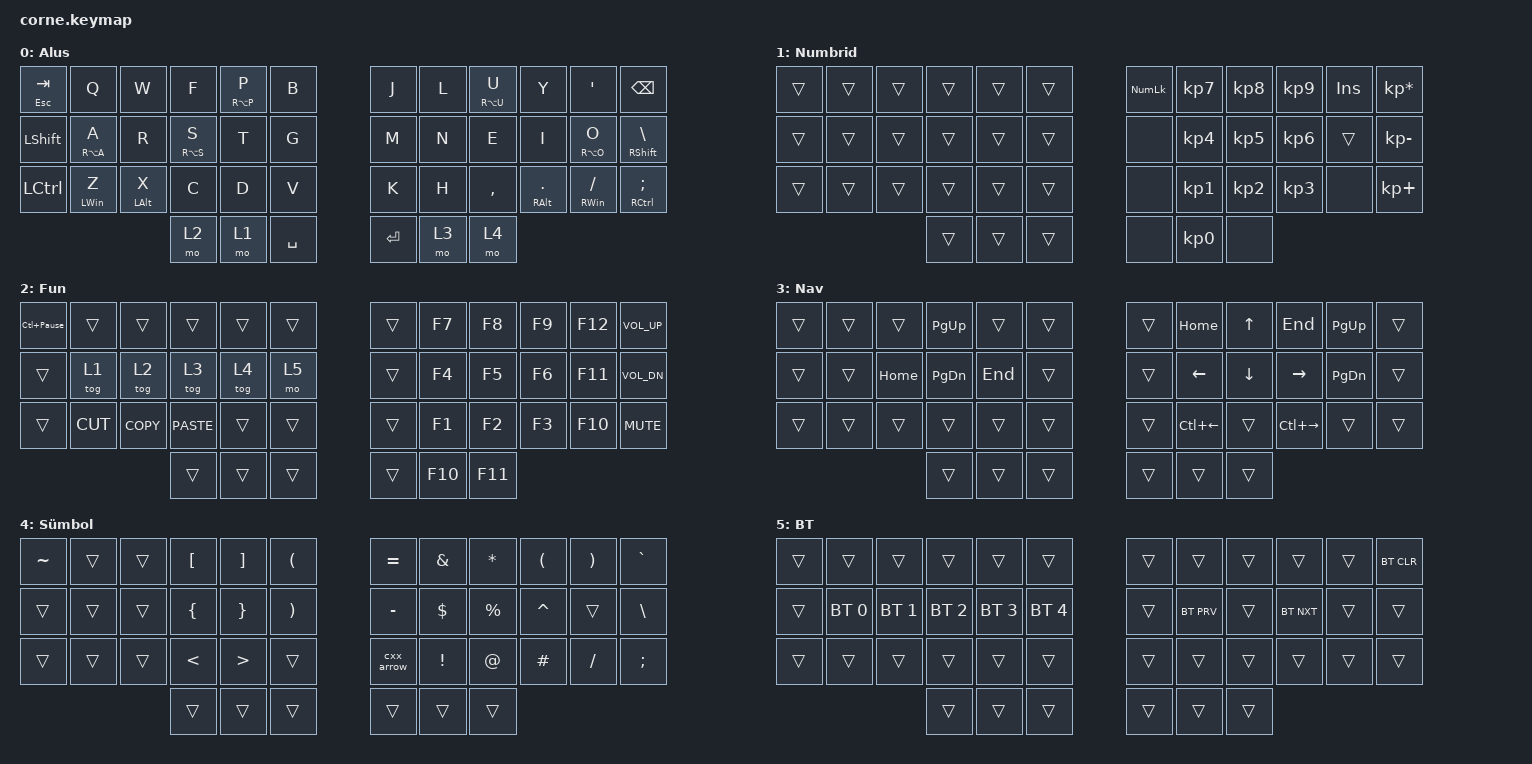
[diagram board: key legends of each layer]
/*
 * Copyright (c) 2020 The ZMK Contributors
 *
 * SPDX-License-Identifier: MIT
 */

#include <behaviors.dtsi>
#include <dt-bindings/zmk/bt.h>
#include <dt-bindings/zmk/keys.h>

// dt-formatter: indent = "  "
// dt-formatter: reindentMultilineIntegerCells = "dedent"

/ {
  behaviors {
    hm: homerow_mods {
      compatible = "zmk,behavior-hold-tap";
      label = "HOMEROW_MODS";
      #binding-cells = <2>;
      tapping-term-ms = <150>;
      quick-tap-ms = <0>;
      flavor = "tap-preferred";
      bindings = <&kp>, <&kp>;
    };

    ht: ht {
      compatible = "zmk,behavior-hold-tap";
      label = "Hold/Tap";
      bindings = <&kp>, <&kp>;

      #binding-cells = <2>;
      tapping-term-ms = <200>;
      flavor = "tap-preferred";
    };
  };

  combos {
    compatible = "zmk,combos";

    caps_word {
      bindings = <&caps_word>;
      key-positions = <17 18>;
    };

    delete {
      bindings = <&kp DEL>;
      key-positions = <10 11>;
    };
  };

  macros {
    zed_em_kay: zed_em_kay {
      compatible = "zmk,behavior-macro";
      label = "ZM_zed_em_kay";
      #binding-cells = <0>;
      bindings =
        <&macro_press>,
        <&kp LSHFT>,
        <&macro_tap>,
        <&kp Z &kp M &kp K>,
        <&macro_release>,
        <&kp LSHFT>;
    };

    cxx_arrow: cxx_arrow {
      compatible = "zmk,behavior-macro";
      label = "->";
      #binding-cells = <0>;
      bindings = <&kp MINUS &kp GREATER_THAN>;
    };
  };

  keymap {
    compatible = "zmk,keymap";

    base {
      bindings = <
&mt ESC TAB       &kp Q           &kp W           &kp F        &ht RA(P) P  &kp B        &kp J    &kp L  &ht RA(U) U  &kp Y                 &kp APOSTROPHE  &kp BSPC
&kp LEFT_SHIFT    &ht RA(A) A     &kp R           &ht RA(S) S  &kp T        &kp G        &kp M    &kp N  &kp E        &kp I                 &ht RA(O) O     &ht RIGHT_SHIFT BACKSLASH
&kp LEFT_CONTROL  &ht LEFT_WIN Z  &ht LEFT_ALT X  &kp C        &kp D        &kp V        &kp K    &kp H  &kp COMMA    &ht RIGHT_ALT PERIOD  &ht RWIN SLASH  &ht RCTRL SEMICOLON
                                                  &mo 2        &mo 1        &kp SPACE    &kp RET  &mo 3  &mo 4
      >;

      label = "Alus";
    };

    Num {
      bindings = <
&trans  &trans  &trans  &trans  &trans  &trans    &kp KP_NUMLOCK  &kp KP_N7  &kp KP_N8  &kp KP_N9  &kp INS  &kp KP_ASTERISK
&trans  &trans  &trans  &trans  &trans  &trans    &none           &kp KP_N4  &kp KP_N5  &kp KP_N6  &trans   &kp KP_SUBTRACT
&trans  &trans  &trans  &trans  &trans  &trans    &none           &kp KP_N1  &kp KP_N2  &kp KP_N3  &none    &kp KP_PLUS
                        &trans  &trans  &trans    &none           &kp KP_N0  &none
      >;

      label = "Numbrid";
    };

    Fun {
      bindings = <
&kp LC(PAUSE_BREAK)  &trans     &trans      &trans       &trans  &trans    &trans  &kp F7   &kp F8   &kp F9  &kp F12  &kp C_VOL_UP
&trans               &tog 1     &tog 2      &tog 3       &tog 4  &mo 5     &trans  &kp F4   &kp F5   &kp F6  &kp F11  &kp C_VOL_DN
&trans               &kp K_CUT  &kp K_COPY  &kp K_PASTE  &trans  &trans    &trans  &kp F1   &kp F2   &kp F3  &kp F10  &kp C_MUTE
                                            &trans       &trans  &trans    &trans  &kp F10  &kp F11
      >;

      label = "Fun";
    };

    Nav {
      bindings = <
&trans  &trans  &trans    &kp PAGE_UP    &trans   &trans    &trans  &kp HOME            &kp UP_ARROW    &kp END              &kp PAGE_UP    &trans
&trans  &trans  &kp HOME  &kp PAGE_DOWN  &kp END  &trans    &trans  &kp LEFT_ARROW      &kp DOWN_ARROW  &kp RIGHT_ARROW      &kp PAGE_DOWN  &trans
&trans  &trans  &trans    &trans         &trans   &trans    &trans  &kp LC(LEFT_ARROW)  &trans          &kp LC(RIGHT_ARROW)  &trans         &trans
                          &trans         &trans   &trans    &trans  &trans              &trans
      >;

      label = "Nav";
    };

    Sym {
      bindings = <
&kp TILDE  &trans  &trans  &kp LEFT_BRACKET  &kp RIGHT_BRACKET  &kp LEFT_PARENTHESIS     &kp EQUAL   &kp AMPERSAND  &kp STAR     &kp LEFT_PARENTHESIS  &kp RIGHT_PARENTHESIS  &kp GRAVE
&trans     &trans  &trans  &kp LEFT_BRACE    &kp RIGHT_BRACE    &kp RIGHT_PARENTHESIS    &kp MINUS   &kp DOLLAR     &kp PERCENT  &kp CARET             &trans                 &kp BACKSLASH
&trans     &trans  &trans  &kp LESS_THAN     &kp GREATER_THAN   &trans                   &cxx_arrow  &kp EXCL       &kp AT       &kp HASH              &kp SLASH              &kp SEMICOLON
                           &trans            &trans             &trans                   &trans      &trans         &trans
      >;

      label = "Sümbol";
    };

    Bluetooth {
      bindings = <
&trans  &trans        &trans        &trans        &trans        &trans          &trans  &trans      &trans  &trans      &trans  &bt BT_CLR
&trans  &bt BT_SEL 0  &bt BT_SEL 1  &bt BT_SEL 2  &bt BT_SEL 3  &bt BT_SEL 4    &trans  &bt BT_PRV  &trans  &bt BT_NXT  &trans  &trans
&trans  &trans        &trans        &trans        &trans        &trans          &trans  &trans      &trans  &trans      &trans  &trans
                                    &trans        &trans        &trans          &trans  &trans      &trans
      >;

      label = "BT";
    };
  };
};
